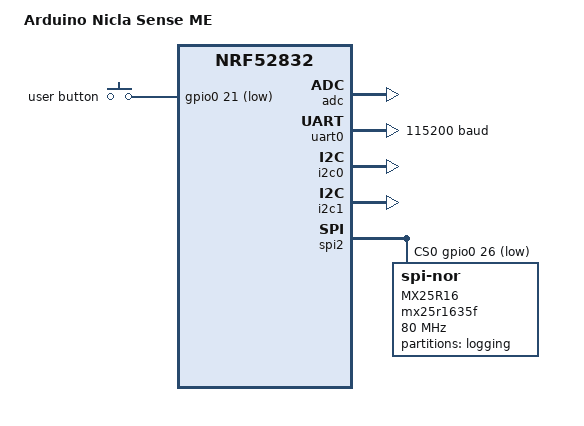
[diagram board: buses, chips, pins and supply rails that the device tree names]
/*
 * Copyright (c) 2022 Benjamin Björnsson <benjamin.bjornsson@gmail.com>.
 *
 * SPDX-License-Identifier: Apache-2.0
 */

/dts-v1/;
#include <nordic/nrf52832_qfaa.dtsi>
#include "arduino_nicla_sense_me-pinctrl.dtsi"

/ {
	model = "Arduino Nicla Sense ME";
	compatible = "arduino,arduino_nicla_sense_me";

	gpio_keys {
		compatible = "gpio-keys";
		user_button: button {
			label = "user button";
			gpios = <&gpio0 21 GPIO_ACTIVE_LOW>;
			status = "okay";
		};
	};

	chosen {
		zephyr,console = &uart0;
		zephyr,shell-uart = &uart0;
		zephyr,uart-mcumgr = &uart0;
		zephyr,bt-mon-uart = &uart0;
		zephyr,bt-c2h-uart = &uart0;
		zephyr,sram = &sram0;
		zephyr,flash = &flash0;
		zephyr,code-partition = &slot0_partition;
	};

	aliases {
		sw0 = &user_button;
	};
};

&adc {
	status = "okay";
};

&gpiote {
	status = "okay";
};

&gpio0 {
	status = "okay";
};

&uart0 {
	compatible = "nordic,nrf-uarte";
	status = "okay";
	current-speed = <115200>;
	pinctrl-0 = <&uart0_default>;
	pinctrl-1 = <&uart0_sleep>;
	pinctrl-names = "default", "sleep";
};

/* I2C0 in datasheet */
&i2c0 {
	compatible = "nordic,nrf-twim";
	status = "okay";
	pinctrl-0 = <&i2c0_default>;
	pinctrl-1 = <&i2c0_sleep>;
	pinctrl-names = "default", "sleep";
};

/* I2C1 in datasheet */
&i2c1 {
	compatible = "nordic,nrf-twim";
	/* Cannot be used together with spi1. */
	status = "okay";
	pinctrl-0 = <&i2c1_default>;
	pinctrl-1 = <&i2c1_sleep>;
	pinctrl-names = "default", "sleep";
};

/* SPI1 in datasheet */
&spi1 {
	compatible = "nordic,nrf-spim";
	/* Cannot be used together with i2c1. */
	/* status = "okay"; */
	pinctrl-0 = <&spi1_default>;
	pinctrl-1 = <&spi1_sleep>;
	pinctrl-names = "default", "sleep";
};

/* SPI0 in datasheet */
&spi2 {
	compatible = "nordic,nrf-spi";
	status = "okay";
	pinctrl-0 = <&spi2_default>;
	pinctrl-1 = <&spi2_sleep>;
	pinctrl-names = "default", "sleep";
	cs-gpios = <&gpio0 26 GPIO_ACTIVE_LOW>;

	mx25r1635f@0 {
		compatible = "jedec,spi-nor";
		reg = <0>;
		spi-max-frequency = <80000000>;
		label = "MX25R16";
		jedec-id = [c2 28 15];
		size = <DT_SIZE_M(16)>;
		has-dpd;
		t-enter-dpd = <10000>;
		t-exit-dpd = <35000>;

		partitions {
			compatible = "fixed-partitions";
			#address-cells = <1>;
			#size-cells = <1>;

			logging_partition: partition@0 {
				label = "logging";
				reg = <0x00000000 DT_SIZE_M(16)>;
			};
		};
	};
};

&flash0 {
	partitions {
		compatible = "fixed-partitions";
		#address-cells = <1>;
		#size-cells = <1>;

		boot_partition: partition@0 {
			label = "sam-ba";
			reg = <0x00000000 0x00010000>;
			read-only;
		};
		slot0_partition: partition@10000 {
			label = "image-0";
			reg = <0x00010000 0x30000>;
		};
		slot1_partition: partition@40000 {
			label = "image-1";
			reg = <0x00040000 0x30000>;
		};
		scratch_partition: partition@70000 {
			label = "image-scratch";
			reg = <0x00070000 0xa000>;
		};
		storage_partition: partition@7a000 {
			label = "storage";
			reg = <0x0007a000 0x00006000>;
		};
	};
};
